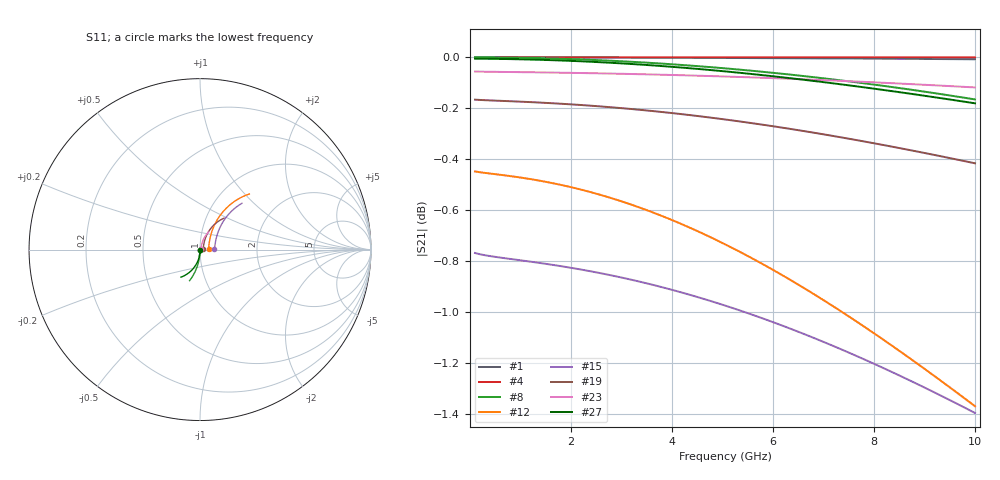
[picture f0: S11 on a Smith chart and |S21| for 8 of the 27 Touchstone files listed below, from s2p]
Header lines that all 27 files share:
# Hz S RI R 50.00
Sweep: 100 MHz to 10 GHz
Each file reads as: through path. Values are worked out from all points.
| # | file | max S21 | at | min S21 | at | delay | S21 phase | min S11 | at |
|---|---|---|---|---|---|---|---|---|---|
| 1 | 2001.s2p | 0.00 dB | 100 MHz | 0.0 dB | 10 GHz | 2.26 ps | -4 deg at 5.1 GHz | -66.3 dB | 100 MHz |
| 2 | 2002.s2p | -0.03 dB | 100 MHz | -0.1 dB | 10 GHz | 6.83 ps | -13 deg at 5.1 GHz | -48.9 dB | 100 MHz |
| 3 | 2003.s2p | -0.54 dB | 100 MHz | -1.1 dB | 10 GHz | 6.93 ps | -13 deg at 5.1 GHz | -24.4 dB | 100 MHz |
| 4 | 2004.s2p | 0.00 dB | 100 MHz | 0.0 dB | 10 GHz | - | -1 deg at 5.1 GHz | -72.1 dB | 100 MHz |
| 5 | 2005.s2p | 0.00 dB | 100 MHz | 0.0 dB | 10 GHz | - | -0 deg at 5.1 GHz | -88.7 dB | 100 MHz |
| 6 | 2007.s2p | -0.01 dB | 100 MHz | 0.0 dB | 10 GHz | - | -2 deg at 5.1 GHz | -60.2 dB | 100 MHz |
| 7 | 2008.s2p | -0.06 dB | 100 MHz | -0.1 dB | 10 GHz | 2.31 ps | -4 deg at 5.1 GHz | -43.0 dB | 100 MHz |
| 8 | 2011.s2p | 0.00 dB | 100 MHz | -0.2 dB | 10 GHz | 5.15 ps | -9 deg at 5.1 GHz | -54.2 dB | 100 MHz |
| 9 | 2012.s2p | -0.64 dB | 100 MHz | -1.5 dB | 10 GHz | 8.93 ps | -17 deg at 5.1 GHz | -22.9 dB | 100 MHz |
| 10 | 2013.s2p | 0.00 dB | 100 MHz | -0.1 dB | 10 GHz | 4.08 ps | -7 deg at 5.1 GHz | -55.1 dB | 100 MHz |
| 11 | 2015.s2p | -0.03 dB | 100 MHz | -0.2 dB | 10 GHz | 7.95 ps | -15 deg at 5.1 GHz | -47.2 dB | 100 MHz |
| 12 | 2016.s2p | -0.45 dB | 100 MHz | -1.4 dB | 10 GHz | 9.88 ps | -19 deg at 5.1 GHz | -25.9 dB | 100 MHz |
| 13 | 2017.s2p | -0.01 dB | 100 MHz | 0.0 dB | 10 GHz | - | -1 deg at 5.1 GHz | -62.3 dB | 100 MHz |
| 14 | 2021.s2p | -0.02 dB | 100 MHz | 0.0 dB | 10 GHz | - | -1 deg at 5.1 GHz | -53.8 dB | 100 MHz |
| 15 | 2022.s2p | -0.77 dB | 100 MHz | -1.4 dB | 10 GHz | 8.13 ps | -15 deg at 5.1 GHz | -21.4 dB | 100 MHz |
| 16 | 2023.s2p | 0.00 dB | 100 MHz | -0.1 dB | 10 GHz | 4.14 ps | -8 deg at 5.1 GHz | -55.0 dB | 100 MHz |
| 17 | 2026.s2p | -0.09 dB | 100 MHz | -0.2 dB | 10 GHz | 3.79 ps | -7 deg at 5.1 GHz | -39.3 dB | 100 MHz |
| 18 | 2027.s2p | -0.10 dB | 100 MHz | -0.2 dB | 10 GHz | 7.41 ps | -14 deg at 5.1 GHz | -38.9 dB | 100 MHz |
| 19 | 2028.s2p | -0.17 dB | 100 MHz | -0.4 dB | 10 GHz | 9.08 ps | -17 deg at 5.1 GHz | -34.3 dB | 100 MHz |
| 20 | 2029.s2p | -0.02 dB | 100 MHz | 0.0 dB | 10 GHz | 3.73 ps | -7 deg at 5.1 GHz | -53.9 dB | 100 MHz |
| 21 | 2030.s2p | -0.01 dB | 100 MHz | 0.0 dB | 10 GHz | 3.13 ps | -6 deg at 5.1 GHz | -59.7 dB | 100 MHz |
| 22 | 2031.s2p | -0.13 dB | 100 MHz | -0.2 dB | 10 GHz | 2.63 ps | -5 deg at 5.1 GHz | -36.8 dB | 100 MHz |
| 23 | 2033.s2p | -0.06 dB | 100 MHz | -0.1 dB | 10 GHz | 6.15 ps | -11 deg at 5.1 GHz | -43.4 dB | 100 MHz |
| 24 | 2034.s2p | -0.05 dB | 100 MHz | -0.1 dB | 10 GHz | 2.11 ps | -4 deg at 5.1 GHz | -44.0 dB | 100 MHz |
| 25 | 2037.s2p | -0.01 dB | 100 MHz | 0.0 dB | 10 GHz | - | -3 deg at 5.1 GHz | -57.1 dB | 100 MHz |
| 26 | 2038.s2p | -0.01 dB | 100 MHz | 0.0 dB | 10 GHz | - | -4 deg at 5.1 GHz | -56.6 dB | 100 MHz |
| 27 | 2040.s2p | -0.01 dB | 100 MHz | -0.2 dB | 10 GHz | 9.66 ps | -18 deg at 5.1 GHz | -52.9 dB | 100 MHz |
